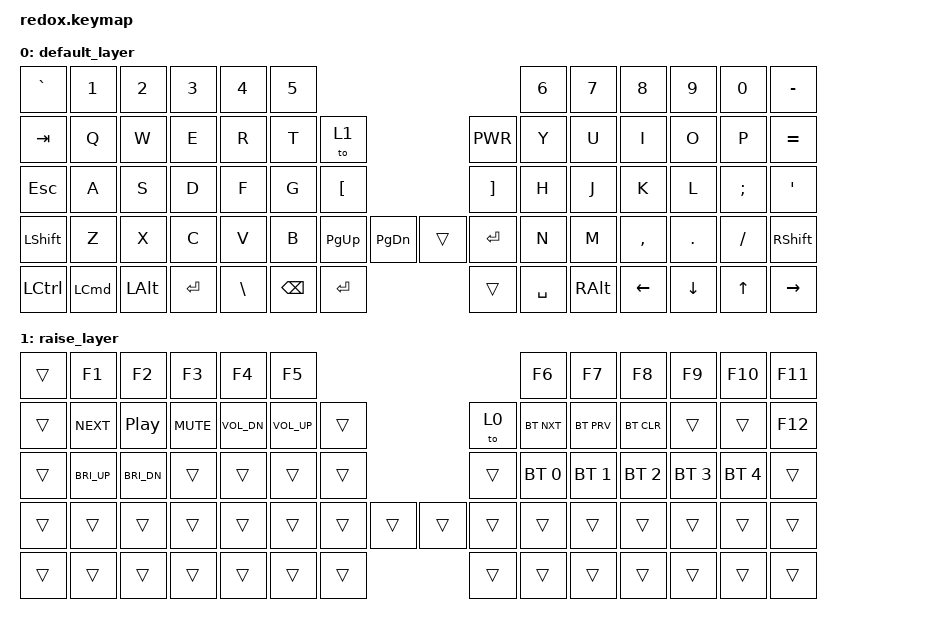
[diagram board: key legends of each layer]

/*
 * Copyright (c) 2021 The ZMK Contributors
 *
 * SPDX-License-Identifier: MIT
 */

#include <behaviors.dtsi>
#include <dt-bindings/zmk/keys.h>
#include <dt-bindings/zmk/bt.h>
#include <dt-bindings/zmk/ext_power.h>
#include <dt-bindings/zmk/outputs.h>

/ {
    keymap {
        compatible =  "zmk,keymap" ;

        default_layer {
// ----------------------------------------------------------------------------------------------------------------------------------------------------
// | ~ `   |  1 ! |  2 @  |   3 #  |  4 $  |  5 %  |                        ---                   |  6 ^  |  7 &  |  8 *  |  9 (  |  0 )  |   - _    |
// | TAB   |  Q   |   W   |    E   |   R   |   T   |   M1    |              ---           |  PWR  |   Y   |   U   |   I   |   O   |   P   |   = +    |
// | ESC   |  A   |   S   |    D   |   F   |   G   |  [ {    |              ---           |  } ]  |   H   |   J   |   K   |   L   |  ;:   |   ' "    |
// | SHIFT |  Z   |   X   |    C   |   V   |   B   |  PG_UP  |  PG_DOWN  |  ---  |  ----- |  END  |   N   |   M   |  , <  |  . >  |  /?   |  RSHIFT  |
// | LCTRL | LCMD |  ALT  |  ENTER |  ---  |  | \  | B SPACE |    ENTER  |  ---  |  ----- | SPACE |  ALT  |  ---  |   <   |   v   |   ^   |    >     |
// ----------------------------------------------------------------------------------------------------------------------------------------------------
            bindings = <
   &kp GRAVE  &kp N1    &kp N2    &kp N3     &kp N4 &kp N5                                            &kp N6   &kp N7   &kp N8    &kp N9   &kp N0    &kp MINUS
   &kp TAB    &kp Q     &kp W     &kp E      &kp R  &kp T     &to 1                         &kp K_PWR &kp Y    &kp U    &kp I     &kp O    &kp P     &kp EQUAL
   &kp ESCAPE &kp A     &kp S     &kp D      &kp F  &kp G     &kp LBKT                      &kp RBKT  &kp H    &kp J    &kp K     &kp L    &kp SEMI  &kp SQT
   &kp LSHFT  &kp Z     &kp X     &kp C      &kp V  &kp B     &kp PG_UP &kp PG_DN    &trans &kp ENTER &kp N    &kp M    &kp COMMA &kp DOT  &kp FSLH  &kp RSHFT
   &kp LCTRL  &kp LCMD  &kp LALT  &kp ENTER        &kp BSLH  &kp BSPC  &kp ENTER    &trans &kp SPACE &kp RALT          &kp LEFT  &kp DOWN &kp UP    &kp RIGHT
            >;

        };		
        raise_layer {
// ----------------------------------------------------------------------------------------------------------------------------------------------------
// | --- |   F1   |    F2    |    F3  |   F4   |    F5   |                      ---                  |    F6   |     F7    |   F8   |   F9  |   F10 |   F11    |
// | --- |  NEXT  |   PLAY   |   MUTE | Vol Dn |  Vol Up | --- |                ---          |  M0   | BT NEXT |   BT PRV  | BT CLR |  ---  |  ---  |   F12    |
// | --- | BRI UP | BRI DOWN |   ---  |   ---  |   ---   | --- |                ---          |  ---  |   BT0   |    BT1    |  BT2   |  BT3  |  BT4  |   ---    |
// | --- |  ---   |    ---   |   ---  |   ---  |   ---   | --- | --- |  ---  |  ---  |  ---  |  ---  |   ---   |    ---    |  ---   |  ---  |  ---  |   ---    |
// | --- |  ---   |    ---   |   ---  |   ---  |   ---   | --- | --- |  ---  |  ---  |  ---  |  ---  |   ---   |    ---    |  ---   |  ---  |  ---  |   ---    |
// ----------------------------------------------------------------------------------------------------------------------------------------------------
            bindings = <
   &trans  &kp F1       &kp F2       &kp F3     &kp F4       &kp F5                                        &kp F6       &kp F7       &kp F8       &kp F9       &kp F10      &kp F11
   &trans	&kp K_NEXT   &kp C_PP     &kp K_MUTE &kp C_VOL_DN &kp C_VOL_UP &trans                   &to 0   &bt BT_NXT   &bt BT_PRV   &bt BT_CLR   &trans       &trans       &kp F12
   &trans  &kp C_BRI_UP &kp C_BRI_DN &trans     &trans       &trans       &trans                   &trans  &bt BT_SEL 0 &bt BT_SEL 1 &bt BT_SEL 2 &bt BT_SEL 3 &bt BT_SEL 4 &trans   
   &trans  &trans       &trans       &trans     &trans       &trans       &trans &trans    &trans  &trans  &trans       &trans       &trans       &trans       &trans       &trans
   &trans  &trans       &trans       &trans                  &trans       &trans &trans    &trans  &trans  &trans                    &trans       &trans       &trans       &trans 
            >;
        };
   };
};
